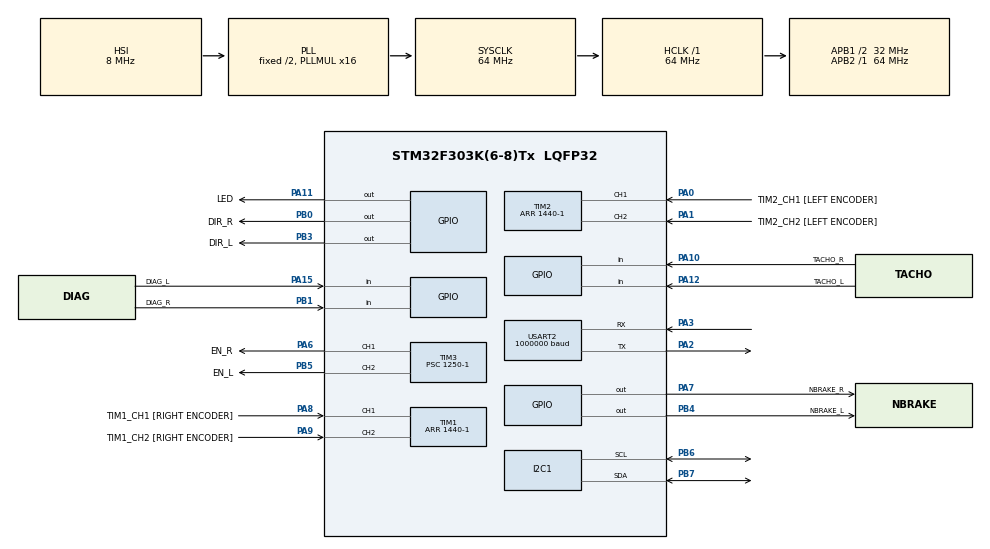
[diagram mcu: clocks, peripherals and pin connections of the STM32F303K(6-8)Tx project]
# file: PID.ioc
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Dma.Request0=USART2_RX
Dma.USART2_RX.0.Direction=DMA_PERIPH_TO_MEMORY
Dma.USART2_RX.0.Instance=DMA1_Channel6
Dma.USART2_RX.0.MemDataAlignment=DMA_MDATAALIGN_BYTE
Dma.USART2_RX.0.MemInc=DMA_MINC_ENABLE
Dma.USART2_RX.0.Mode=DMA_CIRCULAR
Dma.USART2_RX.0.PeriphDataAlignment=DMA_PDATAALIGN_BYTE
Dma.USART2_RX.0.PeriphInc=DMA_PINC_DISABLE
Dma.USART2_RX.0.Priority=DMA_PRIORITY_LOW
Mcu.Family=STM32F3
Mcu.Name=STM32F303K(6-8)Tx
Mcu.Package=LQFP32
NVIC.DMA1_Channel6_IRQn=true\:0\:0\:false\:false\:true\:false
NVIC.PriorityGroup=NVIC_PRIORITYGROUP_4
NVIC.TIM1_BRK_TIM15_IRQn=true\:0\:0\:false\:false\:true\:true
NVIC.USART2_IRQn=true\:0\:0\:false\:false\:true\:true
PA0.GPIO_Label=TIM2_CH1 [LEFT ENCODER]
PA0.GPIO_PuPd=GPIO_PULLUP
PA0.Signal=S_TIM2_CH1_ETR
PA1.GPIO_Label=TIM2_CH2 [LEFT ENCODER]
PA1.GPIO_PuPd=GPIO_PULLUP
PA1.Signal=S_TIM2_CH2
PA10.GPIO_Label=TACHO_R
PA10.Signal=GPIO_Input
PA11.GPIO_Label=LED
PA11.Signal=GPIO_Output
PA12.GPIO_Label=TACHO_L
PA12.Signal=GPIO_Input
PA15.GPIO_Label=DIAG_L
PA15.Signal=GPIO_Input
PA2.Mode=Asynchronous
PA2.Signal=USART2_TX
PA3.Mode=Asynchronous
PA3.Signal=USART2_RX
PA6.GPIO_Label=EN_R
PA6.Signal=S_TIM3_CH1
PA7.GPIO_Label=NBRAKE_R
PA7.Signal=GPIO_Output
PA8.GPIO_Label=TIM1_CH1 [RIGHT ENCODER]
PA8.GPIO_PuPd=GPIO_PULLUP
PA8.Signal=S_TIM1_CH1
PA9.GPIO_Label=TIM1_CH2 [RIGHT ENCODER]
PA9.GPIO_PuPd=GPIO_PULLUP
PA9.Signal=S_TIM1_CH2
PB0.GPIO_Label=DIR_R
PB0.Signal=GPIO_Output
PB1.GPIO_Label=DIAG_R
PB1.GPIO_PuPd=GPIO_PULLDOWN
PB1.Signal=GPIO_Input
PB3.GPIO_Label=DIR_L
PB3.Signal=GPIO_Output
PB4.GPIO_Label=NBRAKE_L
PB4.Signal=GPIO_Output
PB5.GPIO_Label=EN_L
PB5.Signal=S_TIM3_CH2
PB6.Mode=I2C
PB6.Signal=I2C1_SCL
PB7.Mode=I2C
PB7.Signal=I2C1_SDA
ProjectManager.HeapSize=0x200
ProjectManager.StackSize=0x400
ProjectManager.TargetToolchain=Makefile
RCC.AHBFreq_Value=64000000
RCC.APB1CLKDivider=RCC_HCLK_DIV2
RCC.APB1Freq_Value=32000000
RCC.APB1TimFreq_Value=64000000
RCC.APB2Freq_Value=64000000
RCC.APB2TimFreq_Value=64000000
RCC.CortexFreq_Value=64000000
RCC.HCLKFreq_Value=64000000
RCC.HSE_VALUE=8000000
RCC.HSI_VALUE=8000000
RCC.PLLMUL=RCC_PLL_MUL16
RCC.SYSCLKFreq_VALUE=64000000
RCC.SYSCLKSourceVirtual=RCC_SYSCLKSOURCE_PLLCLK
SH.S_TIM1_CH1.0=TIM1_CH1,Encoder_Interface
SH.S_TIM1_CH2.0=TIM1_CH2,Encoder_Interface
SH.S_TIM2_CH1_ETR.0=TIM2_CH1,Encoder_Interface
SH.S_TIM2_CH2.0=TIM2_CH2,Encoder_Interface
SH.S_TIM3_CH1.0=TIM3_CH1,PWM Generation1 CH1
SH.S_TIM3_CH2.0=TIM3_CH2,PWM Generation2 CH2
TIM1.CounterMode=TIM_COUNTERMODE_UP
TIM1.EncoderMode=TIM_ENCODERMODE_TI12
TIM1.IC1Filter=0
TIM1.IC1Polarity=TIM_ICPOLARITY_FALLING
TIM1.IC2Filter=0
TIM1.Period=1440-1
TIM1.TIM_MasterOutputTrigger=TIM_TRGO_RESET
TIM1.TIM_MasterOutputTrigger2=TIM_TRGO2_RESET
TIM15.Period=10-1
TIM15.Prescaler=1000-1
TIM2.CounterMode=TIM_COUNTERMODE_UP
TIM2.EncoderMode=TIM_ENCODERMODE_TI12
TIM2.IC1Filter=0
TIM2.IC1Polarity=TIM_ICPOLARITY_RISING
TIM2.IC2Filter=0
TIM2.Period=1440-1
TIM2.TIM_MasterOutputTrigger=TIM_TRGO_RESET
TIM3.Channel-PWM\ Generation1\ CH1=TIM_CHANNEL_1
TIM3.Channel-PWM\ Generation2\ CH2=TIM_CHANNEL_2
TIM3.Period=255-1
TIM3.Prescaler=1250-1
USART2.BaudRate=1000000
USART2.VirtualMode-Asynchronous=VM_ASYNC
USART2.WordLength=WORDLENGTH_8B
VP_TIM15_VS_ClockSourceINT.Mode=Internal
VP_TIM3_VS_ClockSourceINT.Mode=Internal
VP_WWDG_VS_WWDG.Mode=WWDG_Activate
WWDG.Counter=127
WWDG.EWIMode=WWDG_EWI_ENABLE
WWDG.Prescaler=WWDG_PRESCALER_8
WWDG.Window=120
board=Position

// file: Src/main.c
/**
  ******************************************************************************
  * @file           : main.c
  * @brief          : Main program body
  ******************************************************************************
  ** This notice applies to any and all portions of this file
  * that are not between comment pairs USER CODE BEGIN and
  * USER CODE END. Other portions of this file, whether
  * inserted by the user or by software development tools
  * are owned by their respective copyright owners.
  *
  * COPYRIGHT(c) 2019 STMicroelectronics
  *
  * Redistribution and use in source and binary forms, with or without modification,
  * are permitted provided that the following conditions are met:
  *   1. Redistributions of source code must retain the above copyright notice,
  *      this list of conditions and the following disclaimer.
  *   2. Redistributions in binary form must reproduce the above copyright notice,
  *      this list of conditions and the following disclaimer in the documentation
  *      and/or other materials provided with the distribution.
  *   3. Neither the name of STMicroelectronics nor the names of its contributors
  *      may be used to endorse or promote products derived from this software
  *      without specific prior written permission.
  *
  * THIS SOFTWARE IS PROVIDED BY THE COPYRIGHT HOLDERS AND CONTRIBUTORS "AS IS"
  * AND ANY EXPRESS OR IMPLIED WARRANTIES, INCLUDING, BUT NOT LIMITED TO, THE
  * IMPLIED WARRANTIES OF MERCHANTABILITY AND FITNESS FOR A PARTICULAR PURPOSE ARE
  * DISCLAIMED. IN NO EVENT SHALL THE COPYRIGHT HOLDER OR CONTRIBUTORS BE LIABLE
  * FOR ANY DIRECT, INDIRECT, INCIDENTAL, SPECIAL, EXEMPLARY, OR CONSEQUENTIAL
  * DAMAGES (INCLUDING, BUT NOT LIMITED TO, PROCUREMENT OF SUBSTITUTE GOODS OR
  * SERVICES; LOSS OF USE, DATA, OR PROFITS; OR BUSINESS INTERRUPTION) HOWEVER
  * CAUSED AND ON ANY THEORY OF LIABILITY, WHETHER IN CONTRACT, STRICT LIABILITY,
  * OR TORT (INCLUDING NEGLIGENCE OR OTHERWISE) ARISING IN ANY WAY OUT OF THE USE
  * OF THIS SOFTWARE, EVEN IF ADVISED OF THE POSSIBILITY OF SUCH DAMAGE.
  *
  ******************************************************************************
  */
#include "main.h"
#include "stm32f3xx_hal.h"
#include "dma.h"
#include "i2c.h"
#include "tim.h"
#include "usart.h"
#include "wwdg.h"
#include "gpio.h"

/* USER CODE BEGIN Includes */
#include "motor.h"
#include "odometry.h"
#include "PID.h"
/* USER CODE END Includes */

/* USER CODE BEGIN PV */
/* Private variables ---------------------------------------------------------*/
Odometry odometry;
PID_VALUE pidValSum;
PID_VALUE pidValDiff;
/* USER CODE END PV */

void SystemClock_Config(void);

/* USER CODE BEGIN PFP */
/* Private function prototypes -----------------------------------------------*/

/* USER CODE END PFP */

int main(void)
{
  /* USER CODE BEGIN 1 */
  int sumGoal = 0;
  int diffGoal = 0;
  int sum = 0;
  int diff = 0;
  int Te =0.01;
  InitializationPid(pidValSum, sumGoal, 0.1, 0.1, 0.1);
  InitializationPid(pidValDiff, diffGoal, 0.1, 0.1, 0.1);
  init_odometry(&odometry,&htim2,&htim1,&htim15);
  /**************************************************/
  /*            Motors Init                         */
  /**************************************************/
  //Init variable used to reconfigure PWM
  TIM_OC_InitTypeDef sConfigOC;
  sConfigOC.OCMode = TIM_OCMODE_PWM1;
  sConfigOC.OCPolarity = TIM_OCPOLARITY_HIGH;
  sConfigOC.OCFastMode = TIM_OCFAST_DISABLE;

  //PWM Start
  HAL_TIM_PWM_Start(&htim3, TIM_CHANNEL_2);//EN_2
  HAL_TIM_PWM_Start(&htim3, TIM_CHANNEL_1);//EN_1

  //Direction init : forward
  HAL_GPIO_WritePin(DIR_R_GPIO_Port, DIR_R_Pin, 1);
  HAL_GPIO_WritePin(DIR_L_GPIO_Port, DIR_L_Pin, 0);

  //Enable : stop
  DRIVE_MOTOR_R(0);//encoder2 forward positive positive voltage
  DRIVE_MOTOR_L(0);//encoder1 forward positive positive voltage

  /* USER CODE END 1 */

  /* MCU Configuration----------------------------------------------------------*/

  /* Reset of all peripherals, Initializes the Flash interface and the Systick. */
  HAL_Init();

  /* Configure the system clock */
  SystemClock_Config();

  /* Initialize all configured peripherals */
  MX_GPIO_Init();
  MX_DMA_Init();
  MX_I2C1_Init();
  MX_TIM1_Init();
  MX_TIM2_Init();
  MX_USART2_UART_Init();
  MX_TIM3_Init();
  MX_TIM15_Init();
  MX_WWDG_Init();

  /* Infinite loop */
  /* USER CODE BEGIN WHILE */
  while (1)
  {
   sum = odometry.encoder_l.steps + odometry.encoder_r.steps;
   diff = odometry.encoder_l.steps - odometry.encoder_r.steps;

  /* USER CODE END WHILE */

  /* USER CODE BEGIN 3 */
  FinalValueCalculation(pidValDiff, Te, sum);
  FinalValueCalculation(pidValSum, Te, diff);
  DRIVE_MOTOR_R(pidValDiff.current+pidValSum.current)
  DRIVE_MOTOR_L(pidValDiff.current-pidValSum.current)
  HAL_Delay(Te);
  }
  /* USER CODE END 3 */

}

void SystemClock_Config(void)
{

  RCC_OscInitTypeDef RCC_OscInitStruct;
  RCC_ClkInitTypeDef RCC_ClkInitStruct;
  RCC_PeriphCLKInitTypeDef PeriphClkInit;

    /**Initializes the CPU, AHB and APB busses clocks
    */
  RCC_OscInitStruct.OscillatorType = RCC_OSCILLATORTYPE_HSI;
  RCC_OscInitStruct.HSIState = RCC_HSI_ON;
  RCC_OscInitStruct.HSICalibrationValue = 16;
  RCC_OscInitStruct.PLL.PLLState = RCC_PLL_ON;
  RCC_OscInitStruct.PLL.PLLSource = RCC_PLLSOURCE_HSI;
  RCC_OscInitStruct.PLL.PLLMUL = RCC_PLL_MUL16;
  if (HAL_RCC_OscConfig(&RCC_OscInitStruct) != HAL_OK)
  {
    _Error_Handler(__FILE__, __LINE__);
  }

    /**Initializes the CPU, AHB and APB busses clocks
    */
  RCC_ClkInitStruct.ClockType = RCC_CLOCKTYPE_HCLK|RCC_CLOCKTYPE_SYSCLK
                              |RCC_CLOCKTYPE_PCLK1|RCC_CLOCKTYPE_PCLK2;
  RCC_ClkInitStruct.SYSCLKSource = RCC_SYSCLKSOURCE_PLLCLK;
  RCC_ClkInitStruct.AHBCLKDivider = RCC_SYSCLK_DIV1;
  RCC_ClkInitStruct.APB1CLKDivider = RCC_HCLK_DIV2;
  RCC_ClkInitStruct.APB2CLKDivider = RCC_HCLK_DIV1;

  if (HAL_RCC_ClockConfig(&RCC_ClkInitStruct, FLASH_LATENCY_2) != HAL_OK)
  {
    _Error_Handler(__FILE__, __LINE__);
  }

  PeriphClkInit.PeriphClockSelection = RCC_PERIPHCLK_I2C1|RCC_PERIPHCLK_TIM1;
  PeriphClkInit.I2c1ClockSelection = RCC_I2C1CLKSOURCE_HSI;
  PeriphClkInit.Tim1ClockSelection = RCC_TIM1CLK_HCLK;
  if (HAL_RCCEx_PeriphCLKConfig(&PeriphClkInit) != HAL_OK)
  {
    _Error_Handler(__FILE__, __LINE__);
  }

    /**Configure the Systick interrupt time
    */
  HAL_SYSTICK_Config(HAL_RCC_GetHCLKFreq()/1000);

    /**Configure the Systick
    */
  HAL_SYSTICK_CLKSourceConfig(SYSTICK_CLKSOURCE_HCLK);

  /* SysTick_IRQn interrupt configuration */
  HAL_NVIC_SetPriority(SysTick_IRQn, 0, 0);
}

void _Error_Handler(char *file, int line)
{
  while(1)
  {
  }
}

/************************ (C) COPYRIGHT STMicroelectronics *****END OF FILE****/
